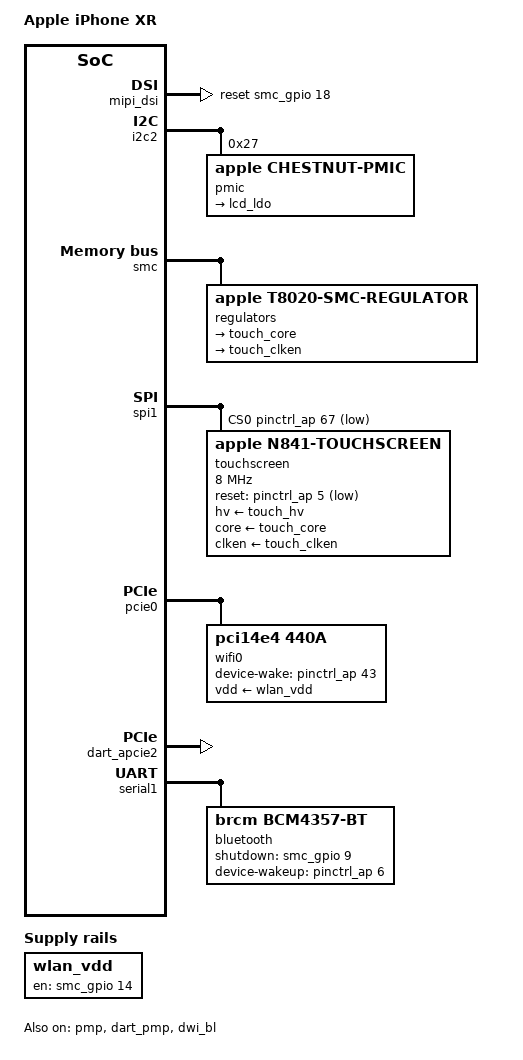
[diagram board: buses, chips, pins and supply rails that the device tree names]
// SPDX-License-Identifier: GPL-2.0+ OR MIT
/*
 * Apple iPhone XR, N841 iPhone11,8
 * Copyright (c) 2026, dr1408
 */

/dts-v1/;

#include "t8020.dtsi"
#include "t8020-common.dtsi"

/ {
	compatible = "apple,n841", "apple,t8020", "apple,arm-platform";
	model = "Apple iPhone XR";
	chassis-type = "handset";
};

/ {
	/* The loader copies the ADT's touch calibration and firmware variant here. */
	aliases {
		touchscreen0 = &touchscreen;
	};
};

/* The display PMU, ADT "display-pmu,chestnut". */
/*
 * The loader's framebuffer is in Apple's extended range and the display
 * pipe takes it as linear light: iOS's driver runs the pipe linear to the
 * panel (enableLinearToPanel) behind a degamma that the loader leaves off.
 * A grey ramp written to it shows every value up to 372 as black and the
 * two values above 895 alike.
 */
&framebuffer0 {
	apple,extended-range-linear;
};

/*
 * Two LM3539 LED drivers light the panel, one on each of i2c0 and i2c2;
 * both take their level from DWI, and the loader leaves them enabled.
 */
/* ADT lcd function-reset = pKW4('gP12'): SMC GPIO 0x12. */
&mipi_dsi {
	reset-gpios = <&smc_gpio 18 GPIO_ACTIVE_HIGH>;
	lcd-supply = <&lcd_ldo>;
	status = "okay";
};

/*
 * The PMP's DRAM configuration: the first entry of the ADT's
 * energy-model-dram-configs (DRAM capacity 3, any vendor).
 */
&pmp {
	apple,dram-config = [
		03 00 00 00 00 00 00 00 33 b3 1c 00 99 19 01 00
		cc cc 08 00 cc 4c 03 00 cc cc 0b 00 cc cc 5e 00
		99 99 56 00 cc 4c 0d 00 00 00 01 00 cc 4c 0b 00
		cc cc 22 00 99 19 01 00 99 99 0e 00 66 66 03 00
		cc cc 11 00 33 b3 b3 00 99 99 ae 00 00 00 13 00
		00 00 01 00 66 66 17 00 66 e6 28 00 99 19 01 00
		99 19 13 00 66 66 03 00 33 b3 16 00 cc cc 02 01
		33 33 e8 00 00 00 18 00 00 00 01 00 99 19 22 00
	];
	status = "okay";
};

&pmp_mbox {
	status = "okay";
};

&dart_pmp {
	status = "okay";
};

&dwi_bl {
	status = "okay";
};

&i2c2 {
	status = "okay";

	pmic@27 {
		compatible = "apple,chestnut-pmic";
		reg = <0x27>;

		/* ADT multi-touch function-power_ana = dpLE(0x302) */
		touch_hv: regulator-touch-hv {
			compatible = "apple,chestnut-touch-hv-regulator";
		};

		/* ADT lcd function-lcd_ldo = dpLE(0x201) */
		lcd_ldo: regulator-lcd {
			compatible = "apple,chestnut-lcd-regulator";
			regulator-name = "lcd";
			regulator-boot-on;
		};
	};
};

&smc {
	regulators {
		compatible = "apple,t8020-smc-regulator";

		/* ADT multi-touch function-power_ldo = pKW4('rBK3', 0x5020000) */
		touch_core: touch-core {
			regulator-name = "touch-core";
		};

		/* ADT multi-touch function-clock_enable = pKW4('gP00', 0x8000000) */
		touch_clken: touch-clock {
			regulator-name = "touch-clock";
		};
	};
};

/*
 * The touch controller (ADT /arm-io/spi1/multi-touch, "hid-transport,spi"):
 * chip select on AP GPIO 67, reset on 5. Its interrupt line, AOP GPIO 19,
 * does not signal reports with this firmware and is left out.
 */
&spi1 {
	cs-gpios = <&pinctrl_ap 67 GPIO_ACTIVE_LOW>;
	status = "okay";

	touchscreen: touchscreen@0 {
		compatible = "apple,n841-touchscreen";
		reg = <0>;
		spi-max-frequency = <8000000>;
		reset-gpios = <&pinctrl_ap 5 GPIO_ACTIVE_LOW>;
		hv-supply = <&touch_hv>;
		core-supply = <&touch_core>;
		clken-supply = <&touch_clken>;
		firmware-name = "apple/n841-touch";
		touchscreen-size-x = <828>;
		touchscreen-size-y = <1792>;
	};
};

/*
 * Wi-Fi (ADT /arm-io/apcie/pci-bridge2/wlan and /arm-io/uart2/wlan): a
 * BCM4357 on PCIe port 2 behind dart-apcie2, PERST# on AP GPIO 106, CLKREQ#
 * on 101, device-wake on 43, and REG_ON on SMC PMU GPIO 14 ("gP0e").
 * brcmfmac takes the module from the ADT's module-instance.
 */
/ {
	aliases {
		bluetooth0 = &bluetooth;
		wifi0 = &wifi0;
	};

	wlan_vdd: regulator-wlan-vdd {
		compatible = "regulator-fixed";
		regulator-name = "wlan-vdd";
		gpio = <&smc_gpio 14 GPIO_ACTIVE_HIGH>;
		enable-active-high;
		off-on-delay-us = <2500>;
	};
};

&pcie0 {
	iommu-map = <0x100 &dart_apcie2 0 1>;
	iommu-map-mask = <0xff00>;
	pinctrl-0 = <&wifi_clkreq>;
	pinctrl-names = "default";
	status = "okay";

	port02: pci@2,0 {
		device_type = "pci";
		reg = <0x1000 0x0 0x0 0x0 0x0>;
		bus-range = <1 1>;
		max-link-speed = <2>;
		reset-gpios = <&pinctrl_ap 106 GPIO_ACTIVE_LOW>;

		#address-cells = <3>;
		#size-cells = <2>;
		ranges;

		interrupt-controller;
		#interrupt-cells = <1>;
		interrupt-map-mask = <0 0 0 7>;
		interrupt-map = <0 0 0 1 &port02 0 0 0 0>,
				<0 0 0 2 &port02 0 0 0 1>,
				<0 0 0 3 &port02 0 0 0 2>,
				<0 0 0 4 &port02 0 0 0 3>;

		wifi0: wifi@0,0 {
			compatible = "pci14e4,440a";
			reg = <0x10000 0x0 0x0 0x0 0x0>;
			device-wake-gpios = <&pinctrl_ap 43 GPIO_ACTIVE_HIGH>;
			vdd-supply = <&wlan_vdd>;
			/* ADT /arm-io/uart2/wlan module-instance */
			brcm,board-type = "apple,yodak";
			brcm,ccode-map-trivial;
		};
	};
};

&dart_apcie2 {
	status = "okay";
};

&pinctrl_ap {
	wifi_clkreq: wifi-clkreq-pins {
		pinmux = <APPLE_PINMUX(101, 1)>;
	};
};

/*
 * Bluetooth (ADT /arm-io/uart1/bluetooth, "bluetooth,n88"): on UART1 at
 * 3 Mbaud, its supply on SMC PMU GPIO 9 ("gP09"), wake on AP GPIO 6. The
 * ADT names TX (30) and RTS (32); iBoot leaves 31 and 33 muxed to the same
 * function, which makes them RX and CTS.
 */
&pinctrl_ap {
	bluetooth_uart1_pins: bluetooth-uart1-pins {
		pinmux = <APPLE_PINMUX(30, 1)>,
			 <APPLE_PINMUX(31, 1)>,
			 <APPLE_PINMUX(32, 1)>,
			 <APPLE_PINMUX(33, 1)>;
	};
};

&serial1 {
	pinctrl-0 = <&bluetooth_uart1_pins>;
	pinctrl-names = "default";
	uart-has-rtscts;
	status = "okay";

	bluetooth: bluetooth {
		compatible = "brcm,bcm4357-bt";
		local-bd-address = [00 00 00 00 00 00]; /* To be filled by loader */
		current-speed = <115200>;
		max-speed = <3000000>;
		shutdown-gpios = <&smc_gpio 9 GPIO_ACTIVE_HIGH>;
		device-wakeup-gpios = <&pinctrl_ap 6 GPIO_ACTIVE_HIGH>;
		apple,wlan = <&wifi0>;
	};
};
